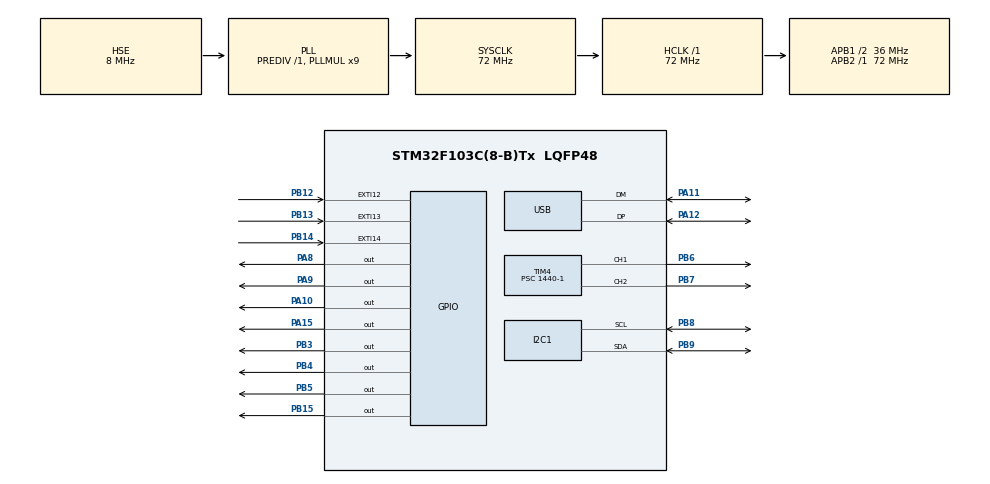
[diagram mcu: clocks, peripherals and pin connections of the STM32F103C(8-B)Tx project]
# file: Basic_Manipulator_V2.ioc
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I2C1.I2C_Mode=I2C_Fast
Mcu.Family=STM32F1
Mcu.Name=STM32F103C(8-B)Tx
Mcu.Package=LQFP48
NVIC.EXTI15_10_IRQn=true\:0\:0\:false\:false\:true\:true\:true\:true
NVIC.PriorityGroup=NVIC_PRIORITYGROUP_4
NVIC.TIM3_IRQn=true\:0\:0\:false\:false\:true\:true\:true\:true
NVIC.TIM4_IRQn=true\:0\:0\:false\:false\:true\:true\:true\:true
NVIC.USB_LP_CAN1_RX0_IRQn=true\:0\:0\:false\:false\:true\:false\:true\:true
PA10.GPIO_PuPd=GPIO_PULLDOWN
PA10.Signal=GPIO_Output
PA11.Mode=Device
PA11.Signal=USB_DM
PA12.Mode=Device
PA12.Signal=USB_DP
PA13.Mode=Serial_Wire
PA13.Signal=SYS_JTMS-SWDIO
PA14.Mode=Serial_Wire
PA14.Signal=SYS_JTCK-SWCLK
PA15.Signal=GPIO_Output
PA8.Signal=GPIO_Output
PA9.GPIO_PuPd=GPIO_PULLDOWN
PA9.Signal=GPIO_Output
PB12.GPIO_ModeDefaultEXTI=GPIO_MODE_IT_FALLING
PB12.GPIO_PuPd=GPIO_PULLUP
PB12.Signal=GPXTI12
PB13.GPIO_ModeDefaultEXTI=GPIO_MODE_IT_FALLING
PB13.GPIO_PuPd=GPIO_PULLUP
PB13.Signal=GPXTI13
PB14.GPIO_ModeDefaultEXTI=GPIO_MODE_IT_FALLING
PB14.GPIO_PuPd=GPIO_PULLUP
PB14.Signal=GPXTI14
PB15.Signal=GPIO_Output
PB3.Signal=GPIO_Output
PB4.Signal=GPIO_Output
PB5.Signal=GPIO_Output
PB6.Signal=S_TIM4_CH1
PB7.Signal=S_TIM4_CH2
PB8.Mode=I2C
PB8.Signal=I2C1_SCL
PB9.Mode=I2C
PB9.Signal=I2C1_SDA
PD0-OSC_IN.Mode=HSE-External-Oscillator
PD0-OSC_IN.Signal=RCC_OSC_IN
PD1-OSC_OUT.Mode=HSE-External-Oscillator
PD1-OSC_OUT.Signal=RCC_OSC_OUT
ProjectManager.HeapSize=0x200
ProjectManager.StackSize=0x400
ProjectManager.TargetToolchain=STM32CubeIDE
RCC.AHBFreq_Value=72000000
RCC.APB1CLKDivider=RCC_HCLK_DIV2
RCC.APB1Freq_Value=36000000
RCC.APB1TimFreq_Value=72000000
RCC.APB2Freq_Value=72000000
RCC.APB2TimFreq_Value=72000000
RCC.EnbaleCSS=true
RCC.HCLKFreq_Value=72000000
RCC.PLLMUL=RCC_PLL_MUL9
RCC.PLLSourceVirtual=RCC_PLLSOURCE_HSE
RCC.SYSCLKFreq_VALUE=72000000
RCC.SYSCLKSource=RCC_SYSCLKSOURCE_PLLCLK
RCC.USBFreq_Value=48000000
RCC.USBPrescaler=RCC_USBCLKSOURCE_PLL_DIV1_5
SH.S_TIM4_CH1.0=TIM4_CH1,PWM Generation1 CH1
SH.S_TIM4_CH2.0=TIM4_CH2,PWM Generation2 CH2
TIM3.Period=25
TIM3.Prescaler=144
TIM4.Channel-PWM\ Generation1\ CH1=TIM_CHANNEL_1
TIM4.Channel-PWM\ Generation2\ CH2=TIM_CHANNEL_2
TIM4.Period=1000-1
TIM4.Prescaler=1440-1
USB_DEVICE.CLASS_NAME_FS=CDC
USB_DEVICE.VirtualMode=Cdc
USB_DEVICE.VirtualModeFS=Cdc_FS
VP_TIM3_VS_ClockSourceINT.Mode=Internal
VP_USB_DEVICE_VS_USB_DEVICE_CDC_FS.Mode=CDC_FS
board=custom

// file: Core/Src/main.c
/* USER CODE BEGIN Header */
/**
  ******************************************************************************
  * @file           : main.c
  * @brief          : USB + OLED test
  ******************************************************************************
  * @attention
  *
  * Copyright (c) 2026 STMicroelectronics.
  * All rights reserved.
  *
  * This software is licensed under terms that can be found in the LICENSE file
  * in the root directory of this software component.
  * If no LICENSE file comes with this software, it is provided AS-IS.
  *
  ******************************************************************************
  */
/* USER CODE END Header */
#include "main.h"
#include "usb_device.h"

/* USER CODE BEGIN Includes */
#include "usbd_cdc_if.h"
#include "ssd1306.h"
#include "ssd1306_fonts.h"
#include <string.h>
#include <stdio.h>

#include "stepper.h"

/* USER CODE END Includes */

/* USER CODE BEGIN PD */

#define DWT_CONTROL *(volatile unsigned long *)0xE0001000
#define SCB_DEMCR   *(volatile unsigned long *)0xE000EDFC

/* USER CODE END PD */

I2C_HandleTypeDef hi2c1;

TIM_HandleTypeDef htim3;
TIM_HandleTypeDef htim4;

/* USER CODE BEGIN PV */
char usb_rx_buffer[128];     // Буфер для приема строки с ПК
uint32_t usb_rx_len = 0;      // Длина принятой строки
uint8_t usb_rx_complete = 0; // Флаг: 1 - строка получена
/* USER CODE END PV */

void SystemClock_Config(void);
static void MX_GPIO_Init(void);
static void MX_TIM4_Init(void);
static void MX_TIM3_Init(void);
static void MX_I2C1_Init(void);
/* USER CODE BEGIN PFP */
void ProcessCommand(char *cmd);
/* USER CODE END PFP */

/* USER CODE BEGIN 0 */

 void DWT_Init(void)
{
    SCB_DEMCR |= CoreDebug_DEMCR_TRCENA_Msk; // разрешаем использовать счётчик
    DWT_CONTROL |= DWT_CTRL_CYCCNTENA_Msk;   // запускаем счётчик
}

void us_delay(uint32_t us)
{
    uint32_t us_count_tic =  us * (SystemCoreClock / 1000000); // получаем кол-во тактов за 1 мкс и умножаем на наше значение
    DWT->CYCCNT = 0U; // обнуляем счётчик
    while(DWT->CYCCNT < us_count_tic);
}
// Отправить строку на ПК через USB
void SendToPC(char *str)
{
	CDC_Transmit_FS((uint8_t*)str, strlen(str));
}

// Обработчик приема данных с ПК (вызывается из USB библиотеки)
void ProcessUSBCommand(char *cmd)
{
    // Удаляем символы \r и \n в конце
    int len = strlen(cmd);
    while (len > 0 && (cmd[len-1] == '\r' || cmd[len-1] == '\n'))
    {
        cmd[len-1] = '\0';
        len--;
    }

    if (strlen(cmd) == 0) return;

    // Отправляем подтверждение на ПК
    char reply[128];
    sprintf(reply, "Received: %s\r\n", cmd);
    SendToPC(reply);

    // ===== ОБРАБОТКА КОМАНД =====

    // Команда: take_object <x> <y> <z>
    if (strncmp(cmd, "take_object", 11) == 0)
    {
        int x, y, z;
        // Парсим координаты
        if (sscanf(cmd, "take_object %d %d %d", &x, &y, &z) == 3)
        {
            sprintf(reply, "Taking object at (%d, %d, %d)\r\n", x, y, z);
            SendToPC(reply);

            // Выполняем захват
            take_object(x, y, z);

        }
        else
        {
            SendToPC("Usage: take_object <x> <y> <z>\r\n");
        }
    }

    // Команда: angle <link> <degrees>
    else if (strncmp(cmd, "angle", 5) == 0)
    {
        int link, angle;
        if (sscanf(cmd, "angle %d %d", &link, &angle) == 2)
        {
            sprintf(reply, "Moving link %d to %d°\r\n", link, angle);
            SendToPC(reply);

            Stepper_Angle(link, angle);

            sprintf(reply, "Link %d -> %d° done!\r\n", link, angle);
            SendToPC(reply);
        }
        else
        {
            SendToPC("Usage: angle <link> <degrees>\r\n");
        }
    }

    // Команда: home
    else if (strcmp(cmd, "home") == 0)
    {
        SendToPC("Moving to home position...\r\n");
        Stepper_Angle(0, 90);
        Stepper_Angle(1, 90);
        Stepper_Angle(2, 90);
        SendToPC("Home position reached!\r\n");
        //gohome() надо
    }

    // Команда: clear
    else if (strcmp(cmd, "clear") == 0)
    {
        ssd1306_Fill(Black);
        ssd1306_UpdateScreen();
        SendToPC("Screen cleared\r\n");
    }

    // Команда: help
    else if (strcmp(cmd, "help") == 0)
    {
        SendToPC("\r\n========== COMMANDS ==========\r\n");
        SendToPC("  take_object <x> <y> <z>  - захватить объект\r\n");
        SendToPC("  angle <link> <deg>      - повернуть звено\r\n");
        SendToPC("  home                    - вернуться в 90°\r\n");
        SendToPC("  clear                   - очистить OLED\r\n");
        SendToPC("  help                    - показать справку\r\n");
        SendToPC("================================\r\n");
    }

    // Если команда неизвестна
    else
    {
        SendToPC("Unknown command. Type 'help' for commands.\r\n");
    }
  }

/* USER CODE END 0 */

int main(void)
{

  /* MCU Configuration--------------------------------------------------------*/

  /* Reset of all peripherals, Initializes the Flash interface and the Systick. */
  HAL_Init();

  /* Configure the system clock */

  SystemClock_Config();

  /* USER CODE BEGIN SysInit */

  DWT_Init();

  /* USER CODE END SysInit */

  /* Initialize all configured peripherals */
  MX_GPIO_Init();
  MX_TIM4_Init();
  MX_TIM3_Init();
  MX_I2C1_Init();
  MX_USB_DEVICE_Init();
  /* USER CODE BEGIN 2 */

  HAL_TIM_PWM_Start(&htim4, TIM_CHANNEL_1);/*Даём разрешение на работу ШИМ таймера*/
  HAL_TIM_PWM_Start(&htim4, TIM_CHANNEL_2);

  // ===== ИНИЦИАЛИЗАЦИЯ OLED =====
  ssd1306_Init();
  ssd1306_Fill(Black);
  ssd1306_UpdateScreen();

  // Приветствие на OLED
  //ssd1306_SetCursor(10, 10);      // ← БЕЗ hi2c
  //ssd1306_WriteString("USB+OLED", Font_11x18, White);  // ← Три параметра
 // ssd1306_WriteString("Ready!", Font_7x10, White);
  //ssd1306_UpdateScreen();   // ← Передаем &hi2c1

  // В main.c, после ssd1306_Init():
  ssd1306_Fill(Black);
  ssd1306_SetCursor(0, 0);

  /* USER CODE END 2 */

  /* Infinite loop */
  while (1)
  {

    /* USER CODE BEGIN 3 */
	  HAL_Delay(10);  // Небольшая задержка
  }
  /* USER CODE END 3 */
}

void SystemClock_Config(void)
{
  RCC_OscInitTypeDef RCC_OscInitStruct = {0};
  RCC_ClkInitTypeDef RCC_ClkInitStruct = {0};
  RCC_PeriphCLKInitTypeDef PeriphClkInit = {0};

  /** Initializes the RCC Oscillators according to the specified parameters
  * in the RCC_OscInitTypeDef structure.
  */
  RCC_OscInitStruct.OscillatorType = RCC_OSCILLATORTYPE_HSE;
  RCC_OscInitStruct.HSEState = RCC_HSE_ON;
  RCC_OscInitStruct.HSEPredivValue = RCC_HSE_PREDIV_DIV1;
  RCC_OscInitStruct.HSIState = RCC_HSI_ON;
  RCC_OscInitStruct.PLL.PLLState = RCC_PLL_ON;
  RCC_OscInitStruct.PLL.PLLSource = RCC_PLLSOURCE_HSE;
  RCC_OscInitStruct.PLL.PLLMUL = RCC_PLL_MUL9;
  if (HAL_RCC_OscConfig(&RCC_OscInitStruct) != HAL_OK)
  {
    Error_Handler();
  }

  /** Initializes the CPU, AHB and APB buses clocks
  */
  RCC_ClkInitStruct.ClockType = RCC_CLOCKTYPE_HCLK|RCC_CLOCKTYPE_SYSCLK
                              |RCC_CLOCKTYPE_PCLK1|RCC_CLOCKTYPE_PCLK2;
  RCC_ClkInitStruct.SYSCLKSource = RCC_SYSCLKSOURCE_PLLCLK;
  RCC_ClkInitStruct.AHBCLKDivider = RCC_SYSCLK_DIV1;
  RCC_ClkInitStruct.APB1CLKDivider = RCC_HCLK_DIV2;
  RCC_ClkInitStruct.APB2CLKDivider = RCC_HCLK_DIV1;

  if (HAL_RCC_ClockConfig(&RCC_ClkInitStruct, FLASH_LATENCY_2) != HAL_OK)
  {
    Error_Handler();
  }
  PeriphClkInit.PeriphClockSelection = RCC_PERIPHCLK_USB;
  PeriphClkInit.UsbClockSelection = RCC_USBCLKSOURCE_PLL_DIV1_5;
  if (HAL_RCCEx_PeriphCLKConfig(&PeriphClkInit) != HAL_OK)
  {
    Error_Handler();
  }

  /** Enables the Clock Security System
  */
  HAL_RCC_EnableCSS();
}

static void MX_I2C1_Init(void)
{

  hi2c1.Instance = I2C1;
  hi2c1.Init.ClockSpeed = 400000;
  hi2c1.Init.DutyCycle = I2C_DUTYCYCLE_2;
  hi2c1.Init.OwnAddress1 = 0;
  hi2c1.Init.AddressingMode = I2C_ADDRESSINGMODE_7BIT;
  hi2c1.Init.DualAddressMode = I2C_DUALADDRESS_DISABLE;
  hi2c1.Init.OwnAddress2 = 0;
  hi2c1.Init.GeneralCallMode = I2C_GENERALCALL_DISABLE;
  hi2c1.Init.NoStretchMode = I2C_NOSTRETCH_DISABLE;
  if (HAL_I2C_Init(&hi2c1) != HAL_OK)
  {
    Error_Handler();
  }

}

static void MX_TIM3_Init(void)
{

  TIM_ClockConfigTypeDef sClockSourceConfig = {0};
  TIM_MasterConfigTypeDef sMasterConfig = {0};

  htim3.Instance = TIM3;
  htim3.Init.Prescaler = 144;
  htim3.Init.CounterMode = TIM_COUNTERMODE_UP;
  htim3.Init.Period = 25;
  htim3.Init.ClockDivision = TIM_CLOCKDIVISION_DIV1;
  htim3.Init.AutoReloadPreload = TIM_AUTORELOAD_PRELOAD_DISABLE;
  if (HAL_TIM_Base_Init(&htim3) != HAL_OK)
  {
    Error_Handler();
  }
  sClockSourceConfig.ClockSource = TIM_CLOCKSOURCE_INTERNAL;
  if (HAL_TIM_ConfigClockSource(&htim3, &sClockSourceConfig) != HAL_OK)
  {
    Error_Handler();
  }
  sMasterConfig.MasterOutputTrigger = TIM_TRGO_RESET;
  sMasterConfig.MasterSlaveMode = TIM_MASTERSLAVEMODE_DISABLE;
  if (HAL_TIMEx_MasterConfigSynchronization(&htim3, &sMasterConfig) != HAL_OK)
  {
    Error_Handler();
  }

}

static void MX_TIM4_Init(void)
{

  TIM_MasterConfigTypeDef sMasterConfig = {0};
  TIM_OC_InitTypeDef sConfigOC = {0};

  htim4.Instance = TIM4;
  htim4.Init.Prescaler = 1440-1;
  htim4.Init.CounterMode = TIM_COUNTERMODE_UP;
  htim4.Init.Period = 1000-1;
  htim4.Init.ClockDivision = TIM_CLOCKDIVISION_DIV1;
  htim4.Init.AutoReloadPreload = TIM_AUTORELOAD_PRELOAD_DISABLE;
  if (HAL_TIM_PWM_Init(&htim4) != HAL_OK)
  {
    Error_Handler();
  }
  sMasterConfig.MasterOutputTrigger = TIM_TRGO_RESET;
  sMasterConfig.MasterSlaveMode = TIM_MASTERSLAVEMODE_DISABLE;
  if (HAL_TIMEx_MasterConfigSynchronization(&htim4, &sMasterConfig) != HAL_OK)
  {
    Error_Handler();
  }
  sConfigOC.OCMode = TIM_OCMODE_PWM1;
  sConfigOC.Pulse = 0;
  sConfigOC.OCPolarity = TIM_OCPOLARITY_HIGH;
  sConfigOC.OCFastMode = TIM_OCFAST_DISABLE;
  if (HAL_TIM_PWM_ConfigChannel(&htim4, &sConfigOC, TIM_CHANNEL_1) != HAL_OK)
  {
    Error_Handler();
  }
  if (HAL_TIM_PWM_ConfigChannel(&htim4, &sConfigOC, TIM_CHANNEL_2) != HAL_OK)
  {
    Error_Handler();
  }
  HAL_TIM_MspPostInit(&htim4);

}

static void MX_GPIO_Init(void)
{
  GPIO_InitTypeDef GPIO_InitStruct = {0};

  /* GPIO Ports Clock Enable */
  __HAL_RCC_GPIOD_CLK_ENABLE();
  __HAL_RCC_GPIOB_CLK_ENABLE();
  __HAL_RCC_GPIOA_CLK_ENABLE();

  /*Configure GPIO pin Output Level */
  HAL_GPIO_WritePin(GPIOB, GPIO_PIN_15|GPIO_PIN_3|GPIO_PIN_4|GPIO_PIN_5, GPIO_PIN_RESET);

  /*Configure GPIO pin Output Level */
  HAL_GPIO_WritePin(GPIOA, GPIO_PIN_8|GPIO_PIN_9|GPIO_PIN_10|GPIO_PIN_15, GPIO_PIN_RESET);

  /*Configure GPIO pins : PB12 PB13 PB14 */
  GPIO_InitStruct.Pin = GPIO_PIN_12|GPIO_PIN_13|GPIO_PIN_14;
  GPIO_InitStruct.Mode = GPIO_MODE_IT_FALLING;
  GPIO_InitStruct.Pull = GPIO_PULLUP;
  HAL_GPIO_Init(GPIOB, &GPIO_InitStruct);

  /*Configure GPIO pins : PB15 PB3 PB4 PB5 */
  GPIO_InitStruct.Pin = GPIO_PIN_15|GPIO_PIN_3|GPIO_PIN_4|GPIO_PIN_5;
  GPIO_InitStruct.Mode = GPIO_MODE_OUTPUT_PP;
  GPIO_InitStruct.Pull = GPIO_NOPULL;
  GPIO_InitStruct.Speed = GPIO_SPEED_FREQ_LOW;
  HAL_GPIO_Init(GPIOB, &GPIO_InitStruct);

  /*Configure GPIO pins : PA8 PA15 */
  GPIO_InitStruct.Pin = GPIO_PIN_8|GPIO_PIN_15;
  GPIO_InitStruct.Mode = GPIO_MODE_OUTPUT_PP;
  GPIO_InitStruct.Pull = GPIO_NOPULL;
  GPIO_InitStruct.Speed = GPIO_SPEED_FREQ_LOW;
  HAL_GPIO_Init(GPIOA, &GPIO_InitStruct);

  /*Configure GPIO pins : PA9 PA10 */
  GPIO_InitStruct.Pin = GPIO_PIN_9|GPIO_PIN_10;
  GPIO_InitStruct.Mode = GPIO_MODE_OUTPUT_PP;
  GPIO_InitStruct.Pull = GPIO_PULLDOWN;
  GPIO_InitStruct.Speed = GPIO_SPEED_FREQ_LOW;
  HAL_GPIO_Init(GPIOA, &GPIO_InitStruct);

  /* EXTI interrupt init*/
  HAL_NVIC_SetPriority(EXTI15_10_IRQn, 0, 0);
  HAL_NVIC_EnableIRQ(EXTI15_10_IRQn);

}

void Error_Handler(void)
{
  __disable_irq();
  while (1)
  {
  }
}
